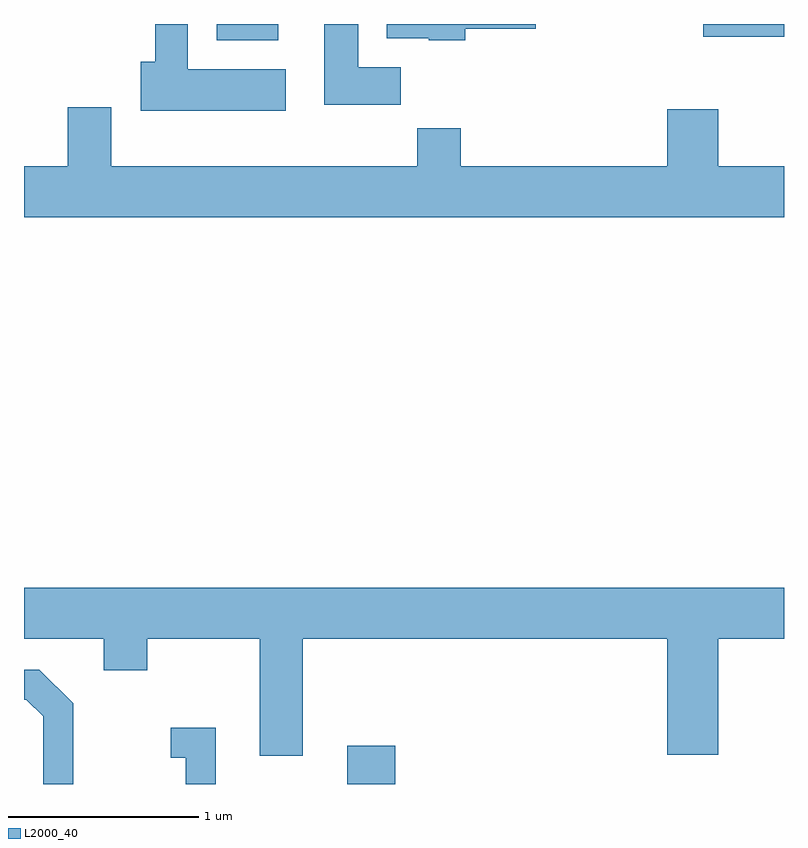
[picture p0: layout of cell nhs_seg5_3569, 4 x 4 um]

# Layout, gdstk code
import gdstk
lib = gdstk.Library(unit=1e-6, precision=1e-09)
def R(c, l, rs):  # rectangles x0, y0, x1, y1
    for r in rs: c.add(gdstk.rectangle(r[:2], r[2:], *l))
def P(c, l, *ps):  # polygons
    for p in ps: c.add(gdstk.Polygon(p, *l))
L2000_40 = (2000, 40)

nhs_seg5_3569 = lib.new_cell('nhs_seg5_3569')
R(nhs_seg5_3569, L2000_40, [(293.311,1416.072,293.564,1416.274), (292.626,1419.986,292.949,1420.072), (295.186,1420.006,295.611,1420.072)])
P(nhs_seg5_3569, L2000_40, [(293.934,1420.046),(294.304,1420.046),(294.304,1420.072),(293.521,1420.072),(293.521,1419.996),(293.74,1419.996),(293.74,1419.986),(293.934,1419.986)],
  [(292.989,1419.834),(292.474,1419.834),(292.474,1420.072),(292.301,1420.072),(292.301,1419.874),(292.226,1419.874),(292.226,1419.616),(292.989,1419.616)],
  [(293.594,1419.844),(293.369,1419.844),(293.369,1420.072),(293.191,1420.072),(293.191,1419.646),(293.594,1419.646)],
  [(295.611,1419.324),(295.264,1419.324),(295.264,1419.624),(294.996,1419.624),(294.996,1419.324),(293.909,1419.324),(293.909,1419.524),(293.681,1419.524),(293.681,1419.324),(292.069,1419.324),(292.069,1419.634),(291.841,1419.634),(291.841,1419.324),(291.611,1419.324),(291.611,1419.056),(295.611,1419.056)],
  [(293.079,1416.836),(294.996,1416.836),(294.996,1416.226),(295.264,1416.226),(295.264,1416.836),(295.611,1416.836),(295.611,1417.104),(291.611,1417.104),(291.611,1416.836),(292.031,1416.836),(292.031,1416.671),(292.259,1416.671),(292.259,1416.836),(292.851,1416.836),(292.851,1416.221),(293.079,1416.221)],
  [(291.869,1416.497),(291.692,1416.674),(291.611,1416.674),(291.611,1416.516),(291.624,1416.516),(291.711,1416.429),(291.711,1416.072),(291.869,1416.072)],
  [(292.619,1416.369),(292.383,1416.369),(292.383,1416.211),(292.461,1416.211),(292.461,1416.072),(292.619,1416.072)])

lib.write_gds('nhs_seg5_3569.gds')
